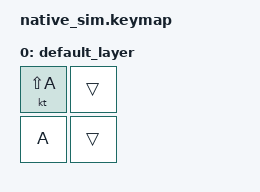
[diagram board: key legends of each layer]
#include <dt-bindings/zmk/keys.h>
#include <behaviors.dtsi>
#include <dt-bindings/zmk/input_mock.h>

&mock_input {
    events = <
    /* Toggle LS(A) on */
        ZMK_INPUT_MOCK_PRESS(0,0,10)
        ZMK_INPUT_MOCK_RELEASE(0,0,10)
    /* Toggle LS(A) off */
        ZMK_INPUT_MOCK_PRESS(0,0,10)
        ZMK_INPUT_MOCK_RELEASE(0,0,10)
    /* Press A */
        ZMK_INPUT_MOCK_PRESS(1,0,10)
    /* Toggle LS(A) on */
        ZMK_INPUT_MOCK_PRESS(0,0,10)
        ZMK_INPUT_MOCK_RELEASE(0,0,10)
    /* Toggle LS(A) off */
        ZMK_INPUT_MOCK_PRESS(0,0,10)
        ZMK_INPUT_MOCK_RELEASE(0,0,10)
    /* Release A */
        ZMK_INPUT_MOCK_RELEASE(1,0,10)
    >;
};

/ {
    keymap {
        compatible = "zmk,keymap";

        default_layer {
            bindings = <
                &kt LS(A) &trans
                &kp A &trans
            >;
        };
    };
};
